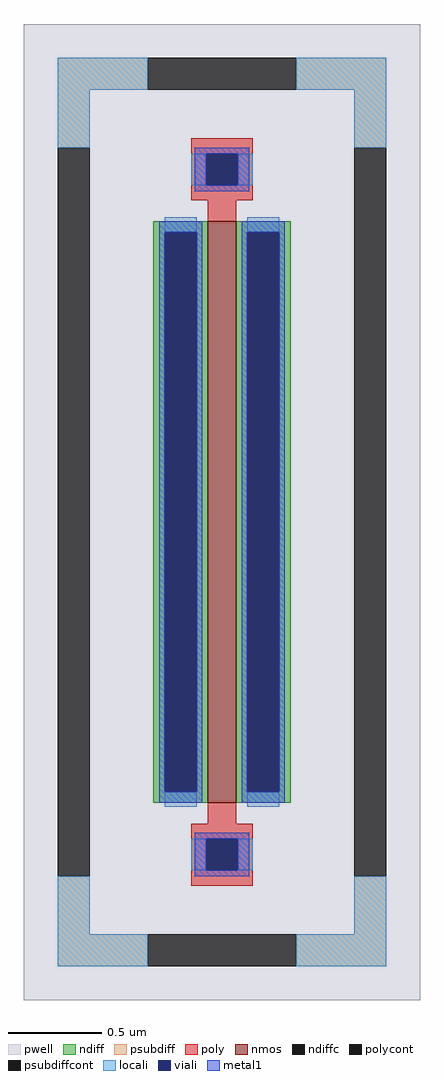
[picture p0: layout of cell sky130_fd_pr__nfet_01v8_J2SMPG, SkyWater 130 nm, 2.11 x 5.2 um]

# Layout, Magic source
magic
tech sky130A
magscale 1 2
<< pwell >>
rect -211 -520 211 520
<< nmos >>
rect -15 -310 15 310
<< ndiff >>
rect -73 298 -15 310
rect -73 -298 -61 298
rect -27 -298 -15 298
rect -73 -310 -15 -298
rect 15 298 73 310
rect 15 -298 27 298
rect 61 -298 73 298
rect 15 -310 73 -298
<< ndiffc >>
rect -61 -298 -27 298
rect 27 -298 61 298
<< psubdiff >>
rect -175 450 -79 484
rect 79 450 175 484
rect -175 388 -141 450
rect 141 388 175 450
rect -175 -450 -141 -388
rect 141 -450 175 -388
rect -175 -484 -79 -450
rect 79 -484 175 -450
<< psubdiffcont >>
rect -79 450 79 484
rect -175 -388 -141 388
rect 141 -388 175 388
rect -79 -484 79 -450
<< poly >>
rect -33 382 33 398
rect -33 348 -17 382
rect 17 348 33 382
rect -33 332 33 348
rect -15 310 15 332
rect -15 -332 15 -310
rect -33 -348 33 -332
rect -33 -382 -17 -348
rect 17 -382 33 -348
rect -33 -398 33 -382
<< polycont >>
rect -17 348 17 382
rect -17 -382 17 -348
<< locali >>
rect -175 450 -79 484
rect 79 450 175 484
rect -175 388 -141 450
rect 141 388 175 450
rect -33 348 -17 382
rect 17 348 33 382
rect -61 298 -27 314
rect -61 -314 -27 -298
rect 27 298 61 314
rect 27 -314 61 -298
rect -33 -382 -17 -348
rect 17 -382 33 -348
rect -175 -450 -141 -388
rect 141 -450 175 -388
rect -175 -484 -79 -450
rect 79 -484 175 -450
<< viali >>
rect -17 348 17 382
rect -61 -298 -27 298
rect 27 -298 61 298
rect -17 -382 17 -348
<< metal1 >>
rect -29 382 29 388
rect -29 348 -17 382
rect 17 348 29 382
rect -29 342 29 348
rect -67 298 -21 310
rect -67 -298 -61 298
rect -27 -298 -21 298
rect -67 -310 -21 -298
rect 21 298 67 310
rect 21 -298 27 298
rect 61 -298 67 298
rect 21 -310 67 -298
rect -29 -348 29 -342
rect -29 -382 -17 -348
rect 17 -382 29 -348
rect -29 -388 29 -382
<< properties >>
string FIXED_BBOX -158 -467 158 467
string gencell sky130_fd_pr__nfet_01v8
string library sky130
string parameters w 3.1 l 0.15 m 1 nf 1 diffcov 100 polycov 100 guard 1 glc 1 grc 1 gtc 1 gbc 1 tbcov 100 rlcov 100 topc 1 botc 1 poverlap 0 doverlap 1 lmin 0.15 wmin 0.42 compatible {sky130_fd_pr__nfet_01v8 sky130_fd_pr__nfet_01v8_lvt  sky130_fd_bs_flash__special_sonosfet_star  sky130_fd_pr__nfet_g5v0d10v5 sky130_fd_pr__nfet_05v0_nvt  sky130_fd_pr__nfet_03v3_nvt} full_metal 1 viasrc 100 viadrn 100 viagate 100 viagb 0 viagr 0 viagl 0 viagt 0
<< end >>
